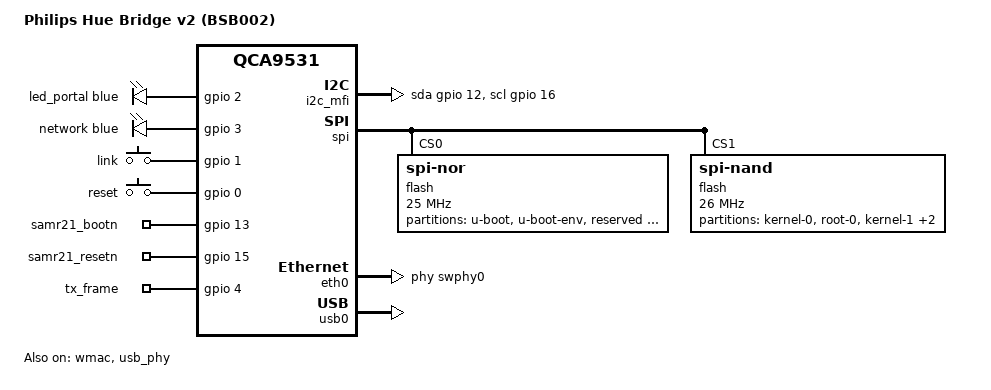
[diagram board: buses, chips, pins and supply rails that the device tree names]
// SPDX-License-Identifier: GPL-2.0-or-later OR MIT

#include "qca953x.dtsi"

#include <dt-bindings/gpio/gpio.h>
#include <dt-bindings/input/input.h>
#include <dt-bindings/leds/common.h>

/ {
	compatible = "philips,bsb002", "qca,qca9531";
	model = "Philips Hue Bridge v2 (BSB002)";

	chosen {
		/delete-property/ bootargs;
	};

	aliases {
		led-boot = &led_portal;
		led-failsafe = &led_portal;
		led-running = &led_portal;
		led-upgrade = &led_portal;

		label-mac-device = &eth0;
	};

	leds {
		compatible = "gpio-leds";
		pinctrl-names = "default";

		pinctrl-0 = <&jtag_disable_pins &led_gpio_pins>;

		led_portal: portal {
			color = <LED_COLOR_ID_BLUE>;
			function = "portal";
			gpios = <&gpio 2 GPIO_ACTIVE_HIGH>;
		};

		network {
			color = <LED_COLOR_ID_BLUE>;
			function = LED_FUNCTION_LAN;
			gpios = <&gpio 3 GPIO_ACTIVE_HIGH>;
		};
	};

	keys {
		compatible = "gpio-keys";
		pinctrl-names = "default";
		pinctrl-0 = <&button_gpio_pins>;

		link {
			label = "link";
			linux,code = <BTN_0>;
			gpios = <&gpio 1 GPIO_ACTIVE_HIGH>;
			debounce-interval = <60>;
		};

		reset {
			label = "reset";
			linux,code = <KEY_RESTART>;
			gpios = <&gpio 0 GPIO_ACTIVE_HIGH>;
			debounce-interval = <60>;
		};
	};

	gpio-export {
		compatible = "gpio-export";
		pinctrl-names = "default";
		pinctrl-0 = <&zigbee_gpio_pins>;

		samr21_boot {
			gpio-export,name = "samr21_bootn";
			gpio-export,output = <1>;
			gpios = <&gpio 13 GPIO_ACTIVE_HIGH>;
		};

		samr21_reset {
			gpio-export,name = "samr21_resetn";
			gpio-export,output = <1>;
			gpios = <&gpio 15 GPIO_ACTIVE_HIGH>;
		};

		tx_frame {
			gpio-export,name = "tx_frame";
			gpio-export,output = <0>;
			gpios = <&gpio 4 GPIO_ACTIVE_HIGH>;
		};
	};

	i2c_mfi: i2c-mfi {
		compatible = "i2c-gpio";
		pinctrl-names = "default";
		pinctrl-0 = <&mfi_i2c_pins>;
		sda-gpios = <&gpio 12 (GPIO_ACTIVE_HIGH | GPIO_OPEN_DRAIN)>;
		scl-gpios = <&gpio 16 (GPIO_ACTIVE_HIGH | GPIO_OPEN_DRAIN)>;
		i2c-gpio,delay-us = <5>;
		#address-cells = <1>;
		#size-cells = <0>;
	};
};

&pinmux {
	button_gpio_pins: button_gpio_pins {
		pinctrl-single,bits = <0x0 0x00000000 0x0000ffff>;
	};

	zigbee_gpio_pins: zigbee_gpio_pins {
		pinctrl-single,bits = <0x4 0x00000000 0x000000ff>,
				     <0xc 0x00000000 0xff00ff00>;
	};

	mfi_i2c_pins: mfi_i2c_pins {
		pinctrl-single,bits = <0xc 0x00000000 0x000000ff>,
				     <0x10 0x00000000 0x000000ff>;
	};

	led_gpio_pins: led_gpio_pins {
		pinctrl-single,bits = <0x0 0x00000000 0xffff0000>;
	};
};

&spi {
	status = "okay";

	flash@0 {
		compatible = "jedec,spi-nor";
		reg = <0>;
		spi-max-frequency = <25000000>;

		partitions {
			compatible = "fixed-partitions";
			#address-cells = <1>;
			#size-cells = <1>;

			partition@0 {
				label = "u-boot";
				reg = <0x0 0x40000>;
				read-only;
			};

			bsb002_env: partition@40000 {
				label = "u-boot-env";
				reg = <0x40000 0x20000>;
			};

			partition@60000 {
				label = "reserved";
				reg = <0x60000 0x10000>;
				read-only;
			};

			partition@70000 {
				label = "art";
				reg = <0x70000 0x10000>;
				read-only;

				nvmem-layout {
					compatible = "fixed-layout";
					#address-cells = <1>;
					#size-cells = <1>;

					macaddr_art_6: macaddr@6 {
						reg = <0x6 0x6>;
					};

					cal_art_1000: calibration@1000 {
						reg = <0x1000 0x440>;
					};
				};
			};
		};
	};

	flash@1 {
		compatible = "spi-nand";
		reg = <1>;
		spi-max-frequency = <26000000>;

		partitions {
			compatible = "fixed-partitions";
			#address-cells = <1>;
			#size-cells = <1>;

			bsb002_kernel_0: partition@0 {
				label = "kernel-0";
				reg = <0x0 0x400000>;
			};

			bsb002_root_0: partition@400000 {
				label = "root-0";
				reg = <0x400000 0x2800000>;
			};

			bsb002_kernel_1: partition@2c00000 {
				label = "kernel-1";
				reg = <0x2c00000 0x400000>;
			};

			bsb002_root_1: partition@3000000 {
				label = "root-1";
				reg = <0x3000000 0x2800000>;
			};

			partition@5800000 {
				label = "overlay";
				reg = <0x5800000 0x2800000>;
				read-only;
			};
		};
	};
};

&mdio0 {
	status = "disabled";
};

&eth0 {
	status = "okay";
	phy-handle = <&swphy0>;

	nvmem-cells = <&macaddr_art_6>;
	nvmem-cell-names = "mac-address";

	gmac-config {
		device = <&gmac>;
		switch-phy-swap = <1>;
		switch-phy-addr-swap = <0>;
	};
};

&eth1 {
	compatible = "syscon", "simple-mfd";
	/delete-property/ builtin-switch;
	/delete-node/ fixed-link;
};

&swphy0 {
	max-speed = <100>;
};

&wmac {
	status = "okay";

	nvmem-cells = <&cal_art_1000>;
	nvmem-cell-names = "calibration";

	gpio-controller;
};

&usb0 {
	status = "okay";
};

&usb_phy {
	status = "okay";
};

&gpio {
	gpio-line-names = "reset", "link", "portal", "network", "tx-frame",
			  "", "", "", "", "", "", "", "mfi-sda", "samr21-bootn",
			  "mfi-reset", "samr21-resetn", "mfi-scl", "mfi-sda-input";
};
